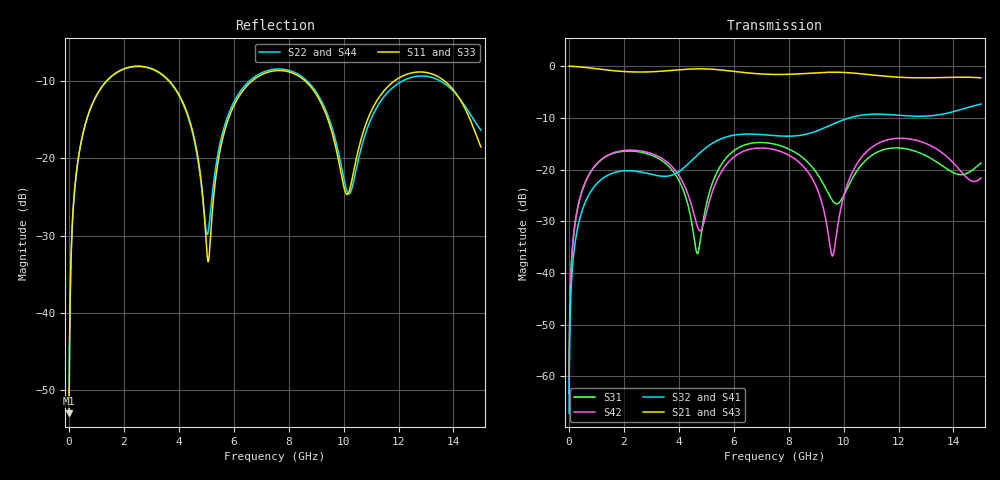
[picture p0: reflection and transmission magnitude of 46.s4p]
! Created with skrf 1.8.0 (http://scikit-rf.org).
# GHz S RI R 50.0
!freq ReS11 ImS11 ReS12 ImS12 ReS13 ImS13
! ReS14 ImS14
! ReS21 ImS21 ReS22 ImS22 ReS23 ImS23
! ReS24 ImS24
! ReS31 ImS31 ReS32 ImS32 ReS33 ImS33
! ReS34 ImS34
! ReS41 ImS41 ReS42 ImS42 ReS43 ImS43
! ReS44 ImS44
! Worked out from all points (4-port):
!   2499 points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, 5 MHz to 15 GHz, reference 50 ohm
!   strongest paths, dB at 5 MHz, 3.476 GHz, 7.19 GHz, 11.1 GHz, 15 GHz:
!     S21: 0.0, -0.9, -1.6, -1.7, -2.3
!     S43: 0.0, -0.9, -1.6, -1.7, -2.3
!     S32: -67.1, -21.3, -13.3, -9.3, -7.3
!     S41: -67.1, -21.4, -13.4, -9.3, -7.3
!     S42: -63.3, -18.2, -15.9, -15.4, -21.6
!     S31: -63.3, -18.6, -14.8, -17.0, -18.8
!   lowest |S11| = -53.0 dB at 5 MHz (marker M1), VSWR 1.00, Z = 50.2 + j0.136 ohm
!   |S11| at or under -10 dB: start of sweep to 1.363 GHz; 3.66 GHz to 6.658 GHz (2.999 GHz wide, 58.1 % of centre); 8.61 GHz to 11.84 GHz (3.23 GHz wide, 31.6 % of centre) (the widest 3 of 4)
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0.005  0.00177 0.00135  0.9982 -0.00345  8.87e-05 0.000682  -8.63e-05 -0.000431
       0.9982 -0.00345  0.00177 0.00135  -8.63e-05 -0.000431  8.88e-05 0.000682
       8.87e-05 0.000682  -8.63e-05 -0.000431  0.00177 0.00135  0.9982 -0.00345
       -8.63e-05 -0.000431  8.88e-05 0.000682  0.9982 -0.00345  0.00177 0.00135
0.3126303  0.0275 0.0882  0.9625 -0.2141  0.0122 0.0402  -0.0103 -0.025
           0.9625 -0.2141  0.0274 0.0883  -0.0103 -0.025  0.0126 0.0401
           0.0122 0.0402  -0.0103 -0.025  0.0275 0.0883  0.9625 -0.2141
           -0.0103 -0.025  0.0126 0.0401  0.9625 -0.2141  0.0274 0.0883
1.519383  0.2901 0.1709  0.5087 -0.7523  0.128 0.0573  -0.0906 0.000194
          0.5087 -0.7523  0.2883 0.1723  -0.0908 0.000365  0.1327 0.0501
          0.128 0.0573  -0.0908 0.000365  0.29 0.171  0.5087 -0.7523
          -0.0906 0.000194  0.1327 0.0501  0.5087 -0.7523  0.2884 0.1722
5.06461  0.0213 -0.00217  -0.9359 -0.0551  0.0278 0.0462  -0.00631 0.168
         -0.9359 -0.0551  0.0324 0.00629  -0.00368 0.1681  -0.0155 0.0415
         0.0278 0.0462  -0.00368 0.1681  0.0215 -0.00155  -0.9359 -0.055
         -0.00631 0.168  -0.0155 0.0415  -0.9359 -0.055  0.032 0.00707
7.709462  0.3707 -0.00657  -0.054 0.8283  0.1402 -0.0951  0.204 -0.0462
          -0.054 0.8283  0.3787 -0.0149  0.2045 -0.0516  0.1355 -0.0625
          0.1402 -0.0951  0.2045 -0.0516  0.3707 -0.00409  -0.0544 0.8279
          0.204 -0.0462  0.1355 -0.0625  -0.0544 0.8279  0.3805 -0.0166
10.49812  0.0787 0.071  0.8465 -0.0694  0.0242 0.0949  -0.0385 -0.3275
          0.8465 -0.0694  0.0736 0.0538  -0.0492 -0.326  0.0671 0.0932
          0.0242 0.0949  -0.0492 -0.326  0.0824 0.0667  0.8469 -0.0673
          -0.0385 -0.3275  0.0671 0.0932  0.8469 -0.0673  0.0695 0.0526
15  0.1062 -0.0527  -0.7159 -0.2843  -0.0783 0.0847  -0.1697 0.3954
    -0.7159 -0.2843  0.1434 -0.0519  -0.1509 0.4021  -0.0514 0.0648
    -0.0783 0.0847  -0.1509 0.4021  0.1082 -0.051  -0.716 -0.2859
    -0.1697 0.3954  -0.0514 0.0648  -0.716 -0.2859  0.139 -0.0466
